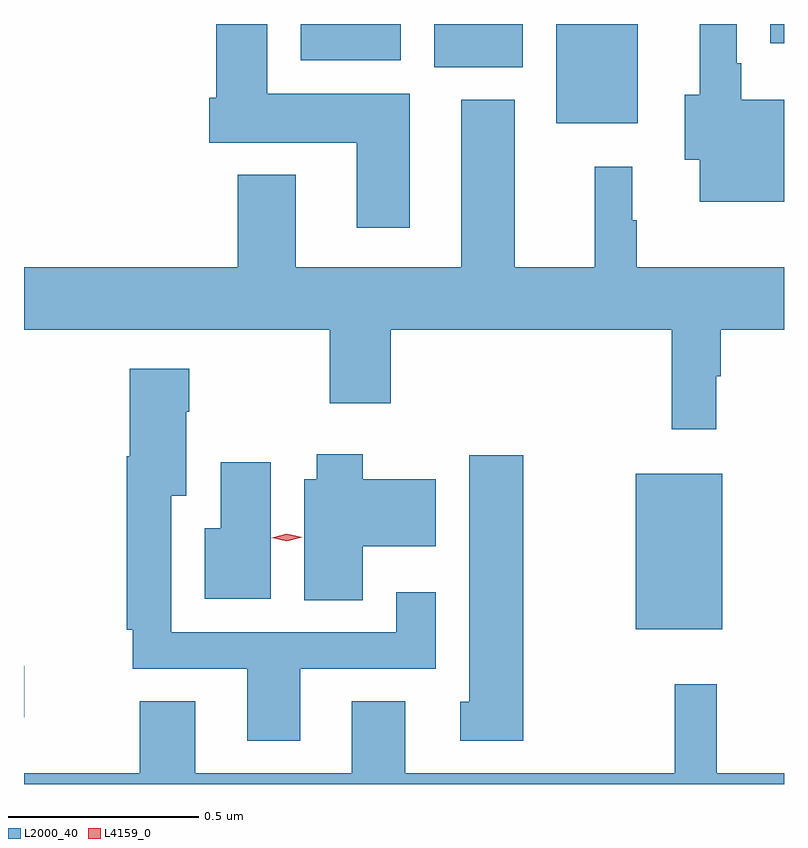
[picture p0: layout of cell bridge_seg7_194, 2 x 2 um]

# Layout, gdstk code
import gdstk
lib = gdstk.Library(unit=1e-6, precision=1e-09)
def R(c, l, rs):  # rectangles x0, y0, x1, y1
    for r in rs: c.add(gdstk.rectangle(r[:2], r[2:], *l))
def P(c, l, *ps):  # polygons
    for p in ps: c.add(gdstk.Polygon(p, *l))
L2000_40 = (2000, 40)
L4159_0 = (4159, 0)

bridge_seg7_194 = lib.new_cell('bridge_seg7_194')
R(bridge_seg7_194, L2000_40, [(461.88,1003.592,461.881,1003.727), (463.49,1003.823,463.717,1004.233), (463.28,1005.155,463.495,1005.416), (462.959,1005.302,463.192,1005.416), (462.608,1005.32,462.871,1005.416), (463.844,1005.365,463.88,1005.416)])
P(bridge_seg7_194, L2000_40, [(462.895,1005.232),(462.52,1005.232),(462.52,1005.416),(462.386,1005.416),(462.386,1005.222),(462.368,1005.222),(462.368,1005.104),(462.755,1005.104),(462.755,1004.88),(462.895,1004.88)],
  [(463.88,1005.217),(463.768,1005.217),(463.768,1005.313),(463.755,1005.313),(463.755,1005.416),(463.658,1005.416),(463.658,1005.23),(463.619,1005.23),(463.619,1005.059),(463.658,1005.059),(463.658,1004.948),(463.88,1004.948)],
  [(463.702,1004.489),(463.714,1004.489),(463.714,1004.612),(463.88,1004.612),(463.88,1004.776),(463.492,1004.776),(463.492,1004.9),(463.48,1004.9),(463.48,1005.04),(463.382,1005.04),(463.382,1004.776),(463.171,1004.776),(463.171,1005.217),(463.031,1005.217),(463.031,1004.776),(462.595,1004.776),(462.595,1005.019),(462.443,1005.019),(462.443,1004.776),(461.88,1004.776),(461.88,1004.612),(462.685,1004.612),(462.685,1004.418),(462.845,1004.418),(462.845,1004.612),(463.585,1004.612),(463.585,1004.349),(463.702,1004.349)],
  [(462.607,1003.719),(462.964,1003.719),(462.964,1003.921),(462.86,1003.921),(462.86,1003.815),(462.267,1003.815),(462.267,1004.174),(462.307,1004.174),(462.307,1004.396),(462.315,1004.396),(462.315,1004.509),(462.158,1004.509),(462.158,1004.278),(462.151,1004.278),(462.151,1003.822),(462.166,1003.822),(462.166,1003.719),(462.467,1003.719),(462.467,1003.53),(462.607,1003.53)],
  [(462.772,1004.042),(462.964,1004.042),(462.964,1004.218),(462.772,1004.218),(462.772,1004.284),(462.65,1004.284),(462.65,1004.218),(462.617,1004.218),(462.617,1003.9),(462.772,1003.9)],
  [(463.194,1004.281),(463.052,1004.281),(463.052,1003.632),(463.028,1003.632),(463.028,1003.53),(463.194,1003.53)],
  [(462.529,1004.263),(462.398,1004.263),(462.398,1004.089),(462.356,1004.089),(462.356,1003.904),(462.529,1003.904)],
  [(463.88,1003.444),(463.703,1003.444),(463.703,1003.678),(463.593,1003.678),(463.593,1003.444),(462.883,1003.444),(462.883,1003.634),(462.743,1003.634),(462.743,1003.444),(462.331,1003.444),(462.331,1003.634),(462.184,1003.634),(462.184,1003.444),(461.88,1003.444),(461.88,1003.416),(463.88,1003.416)])
P(bridge_seg7_194, L4159_0, [(462.572,1004.055),(462.532,1004.064),(462.532,1004.064),(462.532,1004.064),(462.572,1004.075),(462.612,1004.065),(462.612,1004.065),(462.612,1004.065)])

lib.write_gds('bridge_seg7_194.gds')
